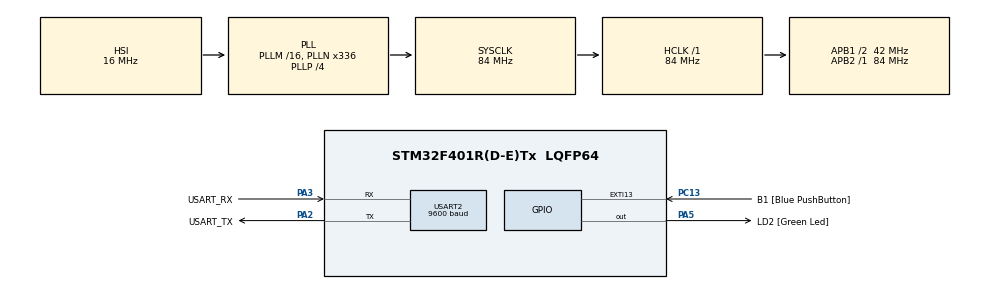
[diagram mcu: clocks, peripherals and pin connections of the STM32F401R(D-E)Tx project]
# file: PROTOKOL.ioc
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Mcu.Family=STM32F4
Mcu.Name=STM32F401R(D-E)Tx
Mcu.Package=LQFP64
NVIC.PriorityGroup=NVIC_PRIORITYGROUP_0
NVIC.USART2_IRQn=true\:0\:0\:false\:false\:true\:true
PA13.GPIO_Label=TMS
PA13.Signal=SYS_JTMS-SWDIO
PA14.GPIO_Label=TCK
PA14.Signal=SYS_JTCK-SWCLK
PA2.GPIO_Label=USART_TX
PA2.GPIO_Mode=GPIO_MODE_AF_PP
PA2.GPIO_PuPd=GPIO_NOPULL
PA2.GPIO_Speed=GPIO_SPEED_FREQ_LOW
PA2.Mode=Asynchronous
PA2.Signal=USART2_TX
PA3.GPIO_Label=USART_RX
PA3.GPIO_Mode=GPIO_MODE_AF_PP
PA3.GPIO_PuPd=GPIO_NOPULL
PA3.GPIO_Speed=GPIO_SPEED_FREQ_LOW
PA3.Mode=Asynchronous
PA3.Signal=USART2_RX
PA5.GPIO_Label=LD2 [Green Led]
PA5.GPIO_Mode=GPIO_MODE_OUTPUT_PP
PA5.GPIO_PuPd=GPIO_NOPULL
PA5.GPIO_Speed=GPIO_SPEED_FREQ_LOW
PA5.Signal=GPIO_Output
PB3.GPIO_Label=SWO
PB3.Signal=SYS_JTDO-SWO
PC13-ANTI_TAMP.GPIO_Label=B1 [Blue PushButton]
PC13-ANTI_TAMP.GPIO_ModeDefaultEXTI=GPIO_MODE_IT_FALLING
PC13-ANTI_TAMP.GPIO_PuPd=GPIO_NOPULL
PC13-ANTI_TAMP.Signal=GPXTI13
PC14-OSC32_IN.Signal=RCC_OSC32_IN
PC15-OSC32_OUT.Signal=RCC_OSC32_OUT
PH0\ -\ OSC_IN.Signal=RCC_OSC_IN
PH1\ -\ OSC_OUT.Signal=RCC_OSC_OUT
ProjectManager.HeapSize=0x200
ProjectManager.StackSize=0x400
ProjectManager.TargetToolchain=SW4STM32
RCC.AHBFreq_Value=84000000
RCC.APB1CLKDivider=RCC_HCLK_DIV2
RCC.APB1Freq_Value=42000000
RCC.APB1TimFreq_Value=84000000
RCC.APB2Freq_Value=84000000
RCC.APB2TimFreq_Value=84000000
RCC.CortexFreq_Value=84000000
RCC.HCLKFreq_Value=84000000
RCC.HSE_VALUE=8000000
RCC.HSI_VALUE=16000000
RCC.LSE_VALUE=32768
RCC.PLLN=336
RCC.PLLP=RCC_PLLP_DIV4
RCC.PLLQ=7
RCC.SYSCLKFreq_VALUE=84000000
RCC.SYSCLKSource=RCC_SYSCLKSOURCE_PLLCLK
RCC.VCOOutputFreq_Value=336000000
USART2.BaudRate=9600
USART2.VirtualMode=VM_ASYNC
VP_IWDG_VS_IWDG.Mode=IWDG_Activate
board=NUCLEO-F401RE

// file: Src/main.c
/**
  ******************************************************************************
  * File Name          : main.c
  * Description        : Main program body
  ******************************************************************************
  ** This notice applies to any and all portions of this file
  * that are not between comment pairs USER CODE BEGIN and
  * USER CODE END. Other portions of this file, whether
  * inserted by the user or by software development tools
  * are owned by their respective copyright owners.
  *
  * COPYRIGHT(c) 2018 STMicroelectronics
  *
  * Redistribution and use in source and binary forms, with or without modification,
  * are permitted provided that the following conditions are met:
  *   1. Redistributions of source code must retain the above copyright notice,
  *      this list of conditions and the following disclaimer.
  *   2. Redistributions in binary form must reproduce the above copyright notice,
  *      this list of conditions and the following disclaimer in the documentation
  *      and/or other materials provided with the distribution.
  *   3. Neither the name of STMicroelectronics nor the names of its contributors
  *      may be used to endorse or promote products derived from this software
  *      without specific prior written permission.
  *
  * THIS SOFTWARE IS PROVIDED BY THE COPYRIGHT HOLDERS AND CONTRIBUTORS "AS IS"
  * AND ANY EXPRESS OR IMPLIED WARRANTIES, INCLUDING, BUT NOT LIMITED TO, THE
  * IMPLIED WARRANTIES OF MERCHANTABILITY AND FITNESS FOR A PARTICULAR PURPOSE ARE
  * DISCLAIMED. IN NO EVENT SHALL THE COPYRIGHT HOLDER OR CONTRIBUTORS BE LIABLE
  * FOR ANY DIRECT, INDIRECT, INCIDENTAL, SPECIAL, EXEMPLARY, OR CONSEQUENTIAL
  * DAMAGES (INCLUDING, BUT NOT LIMITED TO, PROCUREMENT OF SUBSTITUTE GOODS OR
  * SERVICES; LOSS OF USE, DATA, OR PROFITS; OR BUSINESS INTERRUPTION) HOWEVER
  * CAUSED AND ON ANY THEORY OF LIABILITY, WHETHER IN CONTRACT, STRICT LIABILITY,
  * OR TORT (INCLUDING NEGLIGENCE OR OTHERWISE) ARISING IN ANY WAY OUT OF THE USE
  * OF THIS SOFTWARE, EVEN IF ADVISED OF THE POSSIBILITY OF SUCH DAMAGE.
  *
  ******************************************************************************
  */

#include "main.h"
#include "stm32f4xx_hal.h"

UART_HandleTypeDef huart2;

/* USER CODE BEGIN PV */
/* Private variables ---------------------------------------------------------*/
uint8_t Received;     //zmienna przechowujaca dane odebrane z usarta
uint8_t przerwanie = 0;  // flaga informujaca o uruchomieniu przerwania usarta
uint16_t size = 0;    //Rozmiar wysylanej wiadomosci
uint8_t buf_rx[255];
uint8_t buf_end = 0;
uint8_t buf_start = 0;
uint8_t CMD_buf_rx[255];
uint8_t CMD_BUF_INDEX = 0;
uint8_t dl;
uint8_t buf_size = 255;
uint8_t buf_rx[255];
uint16_t zapalona;
uint16_t zgaszona;
//int index=0;
/* USER CODE END PV */

void SystemClock_Config(void);
static void MX_GPIO_Init(void);
static void MX_USART2_UART_Init(void);

/* USER CODE BEGIN PFP */
/* Private function prototypes -----------------------------------------------*/
void HAL_UART_RxCpltCallback(UART_HandleTypeDef *huart) {
	if (huart->Instance == USART2) {
				buf_end++;
				if (buf_end >= 255) {
					buf_end = 0;
				}
				HAL_UART_Receive_IT(&huart2, &buf_rx[buf_end], 1);
			}
}
void copy(void) {
	if (buf_start != buf_end) {
		if (buf_rx[buf_start] == 0x3A) { //pocz¹tek ramki
			CMD_BUF_INDEX++;
			CMD_buf_rx[CMD_BUF_INDEX]=buf_rx[buf_start];
		}
		else if (CMD_BUF_INDEX>0){
			CMD_BUF_INDEX++;
			CMD_buf_rx[CMD_BUF_INDEX]=buf_rx[buf_start];
		}
		buf_start++;
		if(buf_start>255){
			buf_start=0;
		}
	}
}
void dioda(void){
	if(CMD_buf_rx[4]==0x11){
		if(CMD_buf_rx[5]==0x01){ //warunek na œwiecenie diody
			HAL_GPIO_WritePin(GPIOA, GPIO_PIN_5, GPIO_PIN_SET);
		}else{
			HAL_GPIO_WritePin(GPIOA, GPIO_PIN_5, GPIO_PIN_RESET);
		}
	}
	if(CMD_buf_rx[4]==0x10){ //warunek na miganie diody
		zapalona = ((uint16_t) CMD_buf_rx[6] << 8) | CMD_buf_rx[7]; //ile czasu w³¹czona
		zgaszona = ((uint16_t) CMD_buf_rx[8] << 8) | CMD_buf_rx[9]; //ile czasu wy³¹czona
		for(int i=0; i<CMD_buf_rx[5]; i++){
			HAL_GPIO_WritePin(GPIOA, GPIO_PIN_5, GPIO_PIN_SET);
			HAL_Delay(zapalona);
			HAL_GPIO_WritePin(GPIOA, GPIO_PIN_5, GPIO_PIN_RESET);
			HAL_Delay(zgaszona);
		}
	}
}
void sprawdz(void){
	if(CMD_BUF_INDEX>4){
		if(CMD_BUF_INDEX==CMD_buf_rx[3]+9){
			dioda();
			HAL_UART_Transmit(&huart2, CMD_buf_rx, 32, 1000);
			CMD_BUF_INDEX=0;
		}
	}
}

/* USER CODE END PFP */

int main(void)
{

  /* MCU Configuration----------------------------------------------------------*/

  /* Reset of all peripherals, Initializes the Flash interface and the Systick. */
  HAL_Init();

  /* Configure the system clock */
  SystemClock_Config();

  /* Initialize all configured peripherals */
  MX_GPIO_Init();
  MX_USART2_UART_Init();

  /* Infinite loop */
  /* USER CODE BEGIN WHILE */
  HAL_UART_Receive_IT(&huart2, &buf_rx[buf_end], 1);
  while (1)
  {
	 copy();
	 sprawdz();

  /* USER CODE END WHILE */

  }

}

/** System Clock Configuration
*/
void SystemClock_Config(void)
{

  RCC_OscInitTypeDef RCC_OscInitStruct;
  RCC_ClkInitTypeDef RCC_ClkInitStruct;

    /**Configure the main internal regulator output voltage
    */
  __HAL_RCC_PWR_CLK_ENABLE();

  __HAL_PWR_VOLTAGESCALING_CONFIG(PWR_REGULATOR_VOLTAGE_SCALE2);

    /**Initializes the CPU, AHB and APB busses clocks
    */
  RCC_OscInitStruct.OscillatorType = RCC_OSCILLATORTYPE_HSI;
  RCC_OscInitStruct.HSIState = RCC_HSI_ON;
  RCC_OscInitStruct.HSICalibrationValue = 16;
  RCC_OscInitStruct.PLL.PLLState = RCC_PLL_ON;
  RCC_OscInitStruct.PLL.PLLSource = RCC_PLLSOURCE_HSI;
  RCC_OscInitStruct.PLL.PLLM = 16;
  RCC_OscInitStruct.PLL.PLLN = 336;
  RCC_OscInitStruct.PLL.PLLP = RCC_PLLP_DIV4;
  RCC_OscInitStruct.PLL.PLLQ = 7;
  if (HAL_RCC_OscConfig(&RCC_OscInitStruct) != HAL_OK)
  {
    _Error_Handler(__FILE__, __LINE__);
  }

    /**Initializes the CPU, AHB and APB busses clocks
    */
  RCC_ClkInitStruct.ClockType = RCC_CLOCKTYPE_HCLK|RCC_CLOCKTYPE_SYSCLK
                              |RCC_CLOCKTYPE_PCLK1|RCC_CLOCKTYPE_PCLK2;
  RCC_ClkInitStruct.SYSCLKSource = RCC_SYSCLKSOURCE_PLLCLK;
  RCC_ClkInitStruct.AHBCLKDivider = RCC_SYSCLK_DIV1;
  RCC_ClkInitStruct.APB1CLKDivider = RCC_HCLK_DIV2;
  RCC_ClkInitStruct.APB2CLKDivider = RCC_HCLK_DIV1;

  if (HAL_RCC_ClockConfig(&RCC_ClkInitStruct, FLASH_LATENCY_2) != HAL_OK)
  {
    _Error_Handler(__FILE__, __LINE__);
  }

    /**Configure the Systick interrupt time
    */
  HAL_SYSTICK_Config(HAL_RCC_GetHCLKFreq()/1000);

    /**Configure the Systick
    */
  HAL_SYSTICK_CLKSourceConfig(SYSTICK_CLKSOURCE_HCLK);

  /* SysTick_IRQn interrupt configuration */
  HAL_NVIC_SetPriority(SysTick_IRQn, 0, 0);
}

/* USART2 init function */
static void MX_USART2_UART_Init(void)
{

  huart2.Instance = USART2;
  huart2.Init.BaudRate = 9600;
  huart2.Init.WordLength = UART_WORDLENGTH_8B;
  huart2.Init.StopBits = UART_STOPBITS_1;
  huart2.Init.Parity = UART_PARITY_NONE;
  huart2.Init.Mode = UART_MODE_TX_RX;
  huart2.Init.HwFlowCtl = UART_HWCONTROL_NONE;
  huart2.Init.OverSampling = UART_OVERSAMPLING_16;
  if (HAL_UART_Init(&huart2) != HAL_OK)
  {
    _Error_Handler(__FILE__, __LINE__);
  }

}

/** Configure pins as
        * Analog
        * Input
        * Output
        * EVENT_OUT
        * EXTI
*/
static void MX_GPIO_Init(void)
{

  GPIO_InitTypeDef GPIO_InitStruct;

  /* GPIO Ports Clock Enable */
  __HAL_RCC_GPIOC_CLK_ENABLE();
  __HAL_RCC_GPIOH_CLK_ENABLE();
  __HAL_RCC_GPIOA_CLK_ENABLE();
  __HAL_RCC_GPIOB_CLK_ENABLE();

  /*Configure GPIO pin Output Level */
  HAL_GPIO_WritePin(LD2_GPIO_Port, LD2_Pin, GPIO_PIN_RESET);

  /*Configure GPIO pin : B1_Pin */
  GPIO_InitStruct.Pin = B1_Pin;
  GPIO_InitStruct.Mode = GPIO_MODE_IT_FALLING;
  GPIO_InitStruct.Pull = GPIO_NOPULL;
  HAL_GPIO_Init(B1_GPIO_Port, &GPIO_InitStruct);

  /*Configure GPIO pin : LD2_Pin */
  GPIO_InitStruct.Pin = LD2_Pin;
  GPIO_InitStruct.Mode = GPIO_MODE_OUTPUT_PP;
  GPIO_InitStruct.Pull = GPIO_NOPULL;
  GPIO_InitStruct.Speed = GPIO_SPEED_FREQ_LOW;
  HAL_GPIO_Init(LD2_GPIO_Port, &GPIO_InitStruct);

}

void _Error_Handler(char * file, int line)
{
  while(1)
  {
  }
}

/************************ (C) COPYRIGHT STMicroelectronics *****END OF FILE****/
